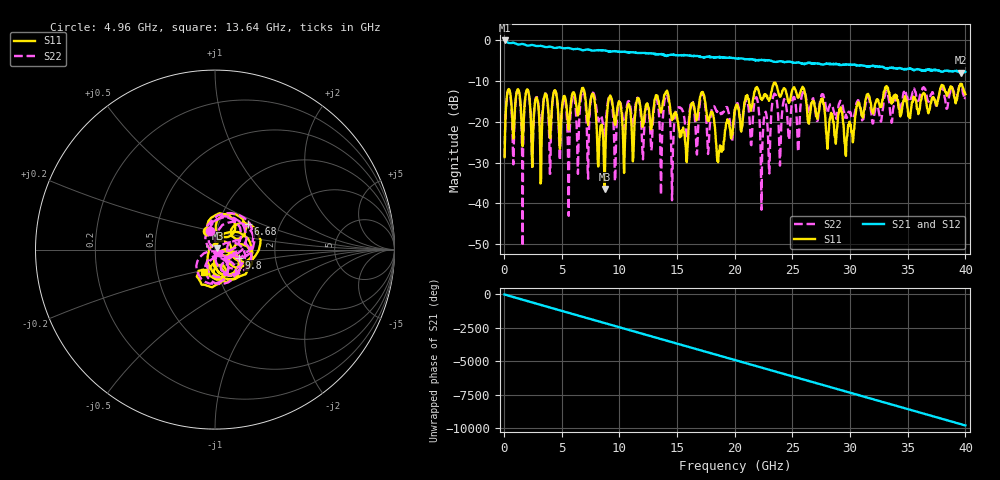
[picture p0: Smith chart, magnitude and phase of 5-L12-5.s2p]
! MS46524B
! 2118201/M1: 21072234/M2: 20492244
! 4/20/2024 10:33:06 AM
! C:\VNA DATA\LC3-SMK\22VAD5613G\LOT801\40OHM\3-L7-4.S2P
! CHANNEL.1
! TR.MEASUREMENT
! CORRECTED.DATA
# GHZ S RI R 50.0
! FREQ.GHZ  S11RE  S11IM  S21RE  S21IM  S12RE  S12IM  S22RE  S22IM
!; PortSelection: Port_12
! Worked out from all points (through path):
!   1000 points, 40 MHz to 40 GHz, reference 50 ohm
!   highest |S21| = -0.12 dB at 40 MHz (marker M1); lowest = -8.0 dB at 39.6 GHz (marker M2)
!   group delay of S21, straight-line fit = 681 ps
!   lowest |S11| = -36.4 dB at 8.72 GHz (marker M3), VSWR 1.03, Z = 51.3 + j0.73 ohm
!   |S11| at or under -10 dB: start of sweep to end of sweep
!   |S22| runs from -50.5 to -10.8 dB; largest |S21 - S12| = 0.016
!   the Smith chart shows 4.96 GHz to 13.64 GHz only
!   S11 on the Smith chart (normalised r, x): 4.96 GHz: 0.89, +0.19; 6.68 GHz: 1.38, +0.41; 9.8 GHz: 1.30, -0.12; 13.64 GHz: 0.86, -0.22
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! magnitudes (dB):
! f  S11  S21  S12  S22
! 40 MHz  -28.7  -0.1  -0.1  -28.7
! 400 MHz  -12.0  -0.7  -0.7  -12.2
! 4.96 GHz  -18.9  -1.9  -1.9  -19.3
! 6.68 GHz  -12.7  -2.4  -2.4  -13.6
! 6.72 GHz  -12.2  -2.5  -2.5  -13.1
! 8.72 GHz  -36.4  -2.6  -2.5  -23.3
! 9.8 GHz  -17.1  -2.8  -2.8  -18.7
! 13.36 GHz  -14.7  -3.6  -3.6  -16.2
! 13.64 GHz  -17.1  -3.5  -3.5  -31.5
! 14.08 GHz  -12.6  -3.9  -4.0  -13.2
! 14.56 GHz  -19.6  -3.6  -3.6  -39.2
! 15.76 GHz  -26.6  -3.8  -3.8  -22.5
! 17.2 GHz  -12.7  -4.2  -4.3  -13.1
! 18.64 GHz  -27.3  -4.1  -4.2  -17.6
! 20.04 GHz  -17.1  -4.5  -4.6  -16.5
! 22.36 GHz  -14.7  -4.9  -4.9  -29.8
! 23.44 GHz  -10.6  -5.3  -5.4  -13.1
! 26.68 GHz  -15.4  -5.8  -5.7  -14.6
! 29.68 GHz  -25.1  -6.1  -6.0  -18.7
! 33.36 GHz  -13.0  -6.9  -6.8  -14.6
! 39.6 GHz  -10.7  -8.0  -7.9  -10.8
! 40 GHz  -13.3  -7.8  -7.8  -14.3
